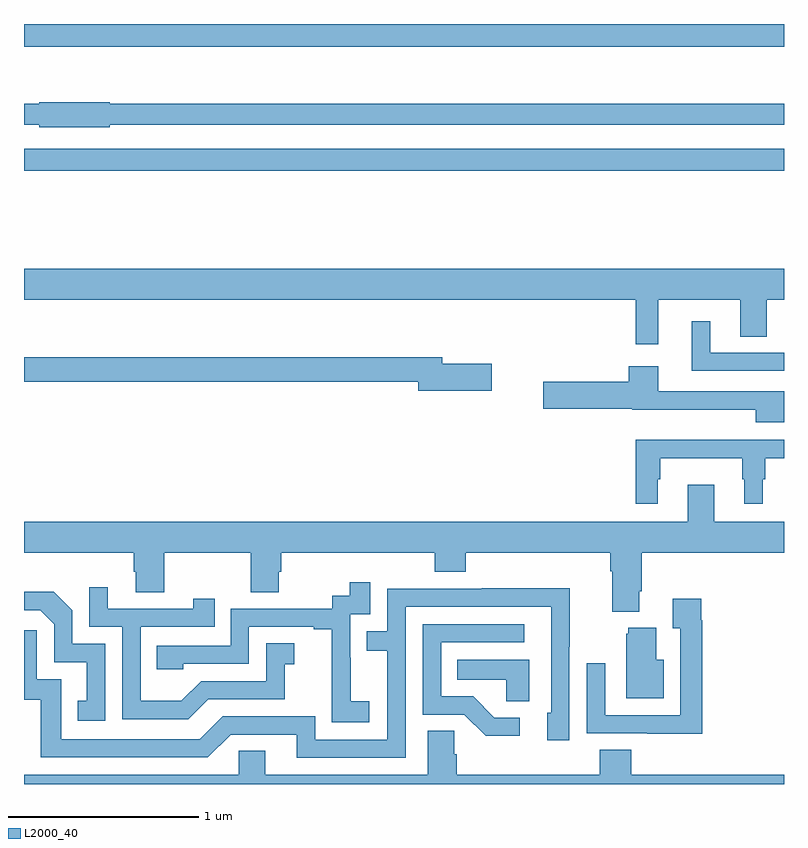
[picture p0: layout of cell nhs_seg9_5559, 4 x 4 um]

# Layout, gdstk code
import gdstk
lib = gdstk.Library(unit=1e-6, precision=1e-09)
def R(c, l, rs):  # rectangles x0, y0, x1, y1
    for r in rs: c.add(gdstk.rectangle(r[:2], r[2:], *l))
def P(c, l, *ps):  # polygons
    for p in ps: c.add(gdstk.Polygon(p, *l))
L2000_40 = (2000, 40)

nhs_seg9_5559 = lib.new_cell('nhs_seg9_5559')
R(nhs_seg9_5559, L2000_40, [(433,1235.728,437,1235.844), (433,1236.38,437,1236.5)])
P(nhs_seg9_5559, L2000_40, [(433.452,1235.97),(437,1235.97),(437,1236.079),(433.452,1236.079),(433.452,1236.087),(433.08,1236.087),(433.08,1236.079),(433,1236.079),(433,1235.97),(433.08,1235.97),(433.08,1235.957),(433.452,1235.957)],
  [(436.337,1235.048),(436.769,1235.048),(436.769,1234.855),(436.909,1234.855),(436.909,1235.048),(437,1235.048),(437,1235.212),(433,1235.212),(433,1235.048),(436.219,1235.048),(436.219,1234.815),(436.337,1234.815)],
  [(437,1234.77),(436.612,1234.77),(436.612,1234.936),(436.514,1234.936),(436.514,1234.674),(437,1234.674)],
  [(435.463,1234.713),(435.202,1234.713),(435.202,1234.747),(433,1234.747),(433,1234.618),(435.074,1234.618),(435.074,1234.571),(435.463,1234.571)],
  [(437,1234.567),(436.954,1234.567),(436.954,1234.566),(436.339,1234.566),(436.339,1234.699),(436.184,1234.699),(436.184,1234.617),(435.732,1234.617),(435.732,1234.475),(436.2,1234.475),(436.2,1234.469),(436.85,1234.469),(436.85,1234.403),(437,1234.403)],
  [(436.336,1234.103),(436.348,1234.103),(436.348,1234.214),(436.779,1234.214),(436.779,1234.103),(436.79,1234.103),(436.79,1233.975),(436.888,1233.975),(436.888,1234.103),(436.9,1234.103),(436.9,1234.214),(437,1234.214),(437,1234.311),(436.794,1234.311),(436.794,1234.312),(436.219,1234.312),(436.219,1233.975),(436.336,1233.975)],
  [(436.237,1233.514),(436.25,1233.514),(436.25,1233.716),(437,1233.716),(437,1233.88),(436.633,1233.88),(436.633,1234.075),(436.493,1234.075),(436.493,1233.88),(433,1233.88),(433,1233.716),(433.577,1233.716),(433.577,1233.618),(433.589,1233.618),(433.589,1233.508),(433.737,1233.508),(433.737,1233.716),(434.194,1233.716),(434.194,1233.508),(434.341,1233.508),(434.341,1233.618),(434.354,1233.618),(434.354,1233.716),(435.161,1233.716),(435.161,1233.617),(435.326,1233.617),(435.326,1233.716),(436.085,1233.716),(436.085,1233.62),(436.097,1233.62),(436.097,1233.407),(436.237,1233.407)],
  [(434.818,1232.935),(434.72,1232.935),(434.72,1233.164),(434.718,1233.164),(434.718,1233.393),(434.823,1233.393),(434.823,1233.562),(434.715,1233.562),(434.715,1233.492),(434.622,1233.492),(434.622,1233.423),(434.088,1233.423),(434.088,1233.228),(433.699,1233.228),(433.699,1233.105),(433.839,1233.105),(433.839,1233.132),(434.184,1233.132),(434.184,1233.327),(434.525,1233.327),(434.525,1233.315),(434.621,1233.315),(434.621,1233.031),(434.62,1233.031),(434.62,1232.825),(434.818,1232.825)],
  [(433.969,1232.946),(434.373,1232.946),(434.373,1233.131),(434.422,1233.131),(434.422,1233.241),(434.274,1233.241),(434.274,1233.042),(433.932,1233.042),(433.828,1232.938),(433.614,1232.938),(433.614,1233.327),(434.003,1233.327),(434.003,1233.475),(433.892,1233.475),(433.892,1233.423),(433.441,1233.423),(433.441,1233.535),(433.344,1233.535),(433.344,1233.327),(433.518,1233.327),(433.518,1232.841),(433.864,1232.841)],
  [(435.009,1233.432),(435.774,1233.432),(435.774,1232.874),(435.755,1232.874),(435.755,1232.73),(435.87,1232.73),(435.87,1233.223),(435.873,1233.223),(435.873,1233.53),(435.409,1233.53),(435.409,1233.528),(434.913,1233.528),(434.913,1233.303),(434.803,1233.303),(434.803,1233.202),(434.913,1233.202),(434.913,1232.733),(434.532,1232.733),(434.532,1232.856),(434.046,1232.856),(433.926,1232.736),(433.197,1232.736),(433.197,1233.051),(433.068,1233.051),(433.068,1233.31),(433,1233.31),(433,1232.943),(433.089,1232.943),(433.089,1232.64),(433.968,1232.64),(434.088,1232.76),(434.435,1232.76),(434.435,1232.637),(435.009,1232.637)],
  [(433.428,1233.237),(433.254,1233.237),(433.254,1233.414),(433.156,1233.512),(433,1233.512),(433,1233.414),(433.086,1233.414),(433.158,1233.342),(433.158,1233.141),(433.331,1233.141),(433.331,1232.937),(433.282,1232.937),(433.282,1232.832),(433.428,1232.832)],
  [(436.571,1233.362),(436.564,1233.362),(436.564,1233.475),(436.415,1233.475),(436.415,1233.319),(436.455,1233.319),(436.455,1232.862),(436.059,1232.862),(436.059,1233.136),(435.963,1233.136),(435.963,1232.766),(436.279,1232.766),(436.279,1232.765),(436.571,1232.765)],
  [(435.61,1232.85),(435.475,1232.85),(435.364,1232.961),(435.195,1232.961),(435.195,1233.246),(435.634,1233.246),(435.634,1233.342),(435.099,1233.342),(435.099,1232.865),(435.318,1232.865),(435.431,1232.753),(435.61,1232.753)],
  [(436.366,1233.154),(436.327,1233.154),(436.327,1233.322),(436.181,1233.322),(436.181,1233.291),(436.169,1233.291),(436.169,1232.951),(436.366,1232.951)],
  [(435.658,1233.154),(435.28,1233.154),(435.28,1233.05),(435.537,1233.05),(435.537,1232.935),(435.658,1232.935)],
  [(437,1232.548),(436.196,1232.548),(436.196,1232.681),(436.031,1232.681),(436.031,1232.548),(435.278,1232.548),(435.278,1232.657),(435.264,1232.657),(435.264,1232.78),(435.125,1232.78),(435.125,1232.548),(434.269,1232.548),(434.269,1232.675),(434.13,1232.675),(434.13,1232.548),(433,1232.548),(433,1232.5),(437,1232.5)])

lib.write_gds('nhs_seg9_5559.gds')
